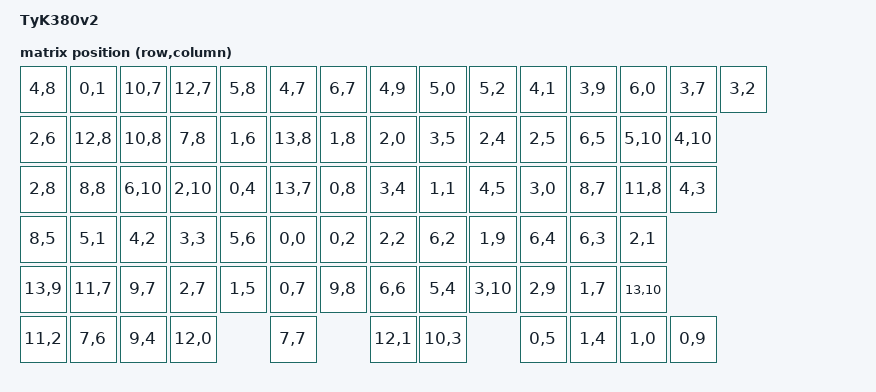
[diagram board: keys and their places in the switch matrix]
/*
 * Copyright (c) 2024 The ZMK Contributors
 *
 * SPDX-License-Identifier: MIT
 */

/dts-v1/;
#include <nordic/nrf52832_qfab.dtsi>
#include <dt-bindings/zmk/matrix_transform.h>

#include <zephyr/sys/util_macro.h>

#define DECLARE_ROW(X) <&gpio0 X (GPIO_ACTIVE_HIGH)>
#define DECLARE_COL(X) <&gpio0 X (GPIO_ACTIVE_HIGH | GPIO_PULL_DOWN)>

/ {
    model = "TyK380v2";
    compatible = "tyk380,v2", "nrf,nrf52832_qfab";

    chosen {
        zephyr,code-partition = &code_partition;
        zephyr,sram = &sram0;
        zephyr,flash = &flash0;
        zmk,kscan = &kscan0;
        zmk,matrix_transform = &default_transform;
    };

    kscan0: kscan {
        compatible = "zmk,kscan-gpio-matrix";
        diode-direction = "row2col";
        row-gpios =
            FOR_EACH(DECLARE_ROW, (,),
            9,
            10,
            11,
            12,
            13,
            14,
			15,
            16,
            17,
            18,
            19,
            20,
            21,
            22
            );
        col-gpios =
            FOR_EACH(DECLARE_COL, (,),
            0,
			1,
			2,
			3,
			4,
			5,
			6,
			7,
			8,
            28,
            29
            );
    };

    default_transform: keymap_transform_0 {
        compatible = "zmk,matrix-transform";
        columns = <11>;
        rows = <14>;
        map = <
            RC(4,8)  RC(0,1)  RC(10,7) RC(12,7) RC(5,8) RC(4,7)  RC(6,7) RC(4,9) RC(5,0) RC(5,2)  RC(4,1) RC(3,9) RC(6,0)  RC(3,7) RC(3,2)
            RC(2,6)  RC(12,8) RC(10,8) RC(7,8)  RC(1,6) RC(13,8) RC(1,8) RC(2,0) RC(3,5) RC(2,4)  RC(2,5) RC(6,5) RC(5,10) RC(4,10)
			RC(2,8)  RC(8,8)  RC(6,10) RC(2,10) RC(0,4) RC(13,7) RC(0,8) RC(3,4) RC(1,1) RC(4,5)  RC(3,0) RC(8,7) RC(11,8) RC(4,3)
            RC(8,5)  RC(5,1)  RC(4,2)  RC(3,3)  RC(5,6) RC(0,0)  RC(0,2) RC(2,2) RC(6,2) RC(1,9)  RC(6,4) RC(6,3) RC(2,1)
            RC(13,9) RC(11,7) RC(9,7)  RC(2,7)  RC(1,5) RC(0,7)  RC(9,8) RC(6,6) RC(5,4) RC(3,10) RC(2,9) RC(1,7) RC(13,10)
            RC(11,2) RC(7,6) RC(9,4) RC(12,0)             RC(7,7)           RC(12,1) RC(10,3) RC(0,5) RC(1,4) RC(1,0) RC(0,9)
        >;
    };
};

&gpiote {
    status = "okay";
};

&gpio0 {
    status = "okay";
};

&flash0 {
    partitions {
        compatible = "fixed-partitions";
        #address-cells = <1>;
        #size-cells = <1>;

        code_partition: partition@0 {
            reg = <0x00000000 0x0003e000>;
        };

        /* Set 8KiB of storage at the end of the 256KiB of flash */
        storage_partition: partition@3e000 {
            reg = <0x0003e000 0x00002000>;
        };
    };
};
